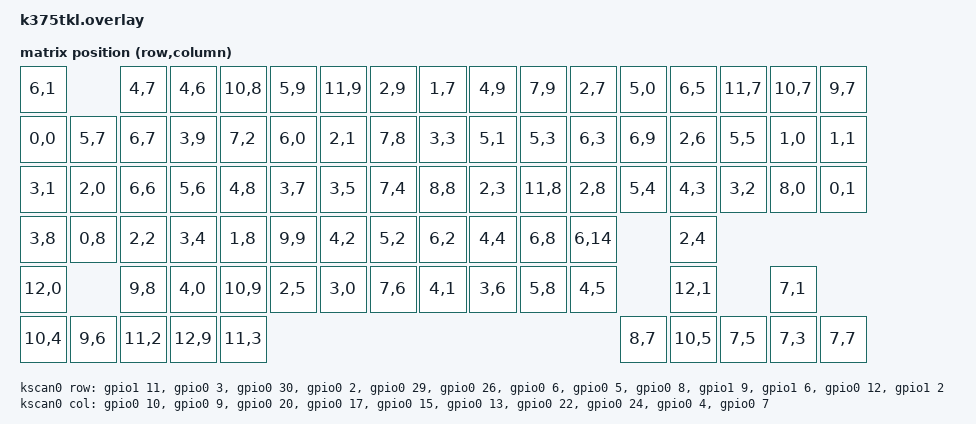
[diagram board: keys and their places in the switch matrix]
#include <dt-bindings/zmk/matrix_transform.h>

/ {
    chosen {
        zmk,kscan = &kscan0;
        zmk,matrix_transform = &default_transform;
    };

    kscan0: kscan_0 {
        compatible = "zmk,kscan-gpio-matrix";
        label = "KSCAN";
        diode-direction = "col2row";

        col-gpios
            = <&gpio0 10 GPIO_ACTIVE_HIGH>
            , <&gpio0  9 GPIO_ACTIVE_HIGH>
            , <&gpio0 20 GPIO_ACTIVE_HIGH>
            , <&gpio0 17 GPIO_ACTIVE_HIGH>
            , <&gpio0 15 GPIO_ACTIVE_HIGH>
            , <&gpio0 13 GPIO_ACTIVE_HIGH>
            , <&gpio0 22 GPIO_ACTIVE_HIGH>
            , <&gpio0 24 GPIO_ACTIVE_HIGH>
            , <&gpio0  4 GPIO_ACTIVE_HIGH>
            , <&gpio0  7 GPIO_ACTIVE_HIGH>
            ;


        row-gpios
            = <&gpio1 11 (GPIO_ACTIVE_HIGH | GPIO_PULL_DOWN)>
            , <&gpio0  3 (GPIO_ACTIVE_HIGH | GPIO_PULL_DOWN)>
            , <&gpio0 30 (GPIO_ACTIVE_HIGH | GPIO_PULL_DOWN)>
            , <&gpio0  2 (GPIO_ACTIVE_HIGH | GPIO_PULL_DOWN)>
            , <&gpio0 29 (GPIO_ACTIVE_HIGH | GPIO_PULL_DOWN)>
            , <&gpio0 26 (GPIO_ACTIVE_HIGH | GPIO_PULL_DOWN)>
            , <&gpio0  6 (GPIO_ACTIVE_HIGH | GPIO_PULL_DOWN)>
            , <&gpio0  5 (GPIO_ACTIVE_HIGH | GPIO_PULL_DOWN)>
            , <&gpio0  8 (GPIO_ACTIVE_HIGH | GPIO_PULL_DOWN)>
            , <&gpio1  9 (GPIO_ACTIVE_HIGH | GPIO_PULL_DOWN)>
            , <&gpio1  6 (GPIO_ACTIVE_HIGH | GPIO_PULL_DOWN)>
            , <&gpio0 12 (GPIO_ACTIVE_HIGH | GPIO_PULL_DOWN)>
            , <&gpio1  2 (GPIO_ACTIVE_HIGH | GPIO_PULL_DOWN)>
            ;

    };
    // 0.30 for rgb DIN

    default_transform: keymap_transform_0 {
		compatible = "zmk,matrix-transform";
		columns = <10>;
		rows = <13>;
/*
   |  K00   |   K01   |   K02   |   K03   |   K04   |   K05   |   K06   |   K07   |   K08   |   K09   |   K0A   |   K0B   |   K0C   |   K0D   |   K0E   |
   |  K10   |   K11   |   K12   |   K13   |   K14   |   K15   |   K16   |   K17   |   K18   |   K19   |   K1A   |   K1B   |   K1C   |   KC_NO |   K1E   |
   |  K20   |   K21   |   K22   |   K23   |   K24   |   K25   |   K26   |   K27   |   K28   |   K29   |   K2A   |   K2B   |   K2C   |   K2D   |   K2E   |
   |  K30   |   K31   |   K32   |   K33   |   K34   |   K35   |   K36   |   K37   |   K38   |   K39   |   K3A   |   K3B   |   K3C   |   K3D   |   K3E   |
   |  K40   |   KC_NO |   K41   |   K42   |   K43   |   K44   |   K45   |   K46   |   K47   |   K48   |   K49   |   K4A   |   K4B   |   KC_NO |   K4C   |
   |  K50   |   K51   |   K52   |   K53   |   K54   |   K55   |   K56   |   K57   |   K58   |   K59   |   K5A   |   K5B   |   K5C   |   K5D   |   K5E   |
*/
        map = <
RC(6,1)           RC(4,7)  RC(4,6)  RC(10,8)  RC(5,9)  RC(11,9)  RC(2,9)  RC(1,7)  RC(4,9)  RC(7,9)  RC(2,7)  RC(5,0) RC(6,5)    RC(11,7)  RC(10,7)  RC(9,7)
RC(0,0)  RC(5,7)  RC(6,7)  RC(3,9)  RC(7,2)   RC(6,0)  RC(2,1)   RC(7,8)  RC(3,3)  RC(5,1)  RC(5,3)  RC(6,3)  RC(6,9) RC(2,6)    RC(5,5)   RC(1,0)   RC(1,1)
RC(3,1)  RC(2,0)  RC(6,6)  RC(5,6)  RC(4,8)   RC(3,7)  RC(3,5)   RC(7,4)  RC(8,8)  RC(2,3)  RC(11,8) RC(2,8)  RC(5,4) RC(4,3)    RC(3,2)   RC(8,0)   RC(0,1)
RC(3,8)  RC(0,8)  RC(2,2)  RC(3,4)  RC(1,8)   RC(9,9)  RC(4,2)   RC(5,2)  RC(6,2)  RC(4,4)  RC(6,8)  RC(6,14)         RC(2,4)
RC(12,0)          RC(9,8)  RC(4,0)  RC(10,9)  RC(2,5)  RC(3,0)   RC(7,6)  RC(4,1)  RC(3,6)  RC(5,8)  RC(4,5)          RC(12,1)             RC(7,1)
RC(10,4) RC(9,6)  RC(11,2)                             RC(12,9)                             RC(11,3)      RC(8,7)     RC(10,5)   RC(7,5)   RC(7,3)   RC(7,7)
        >;
	};
};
